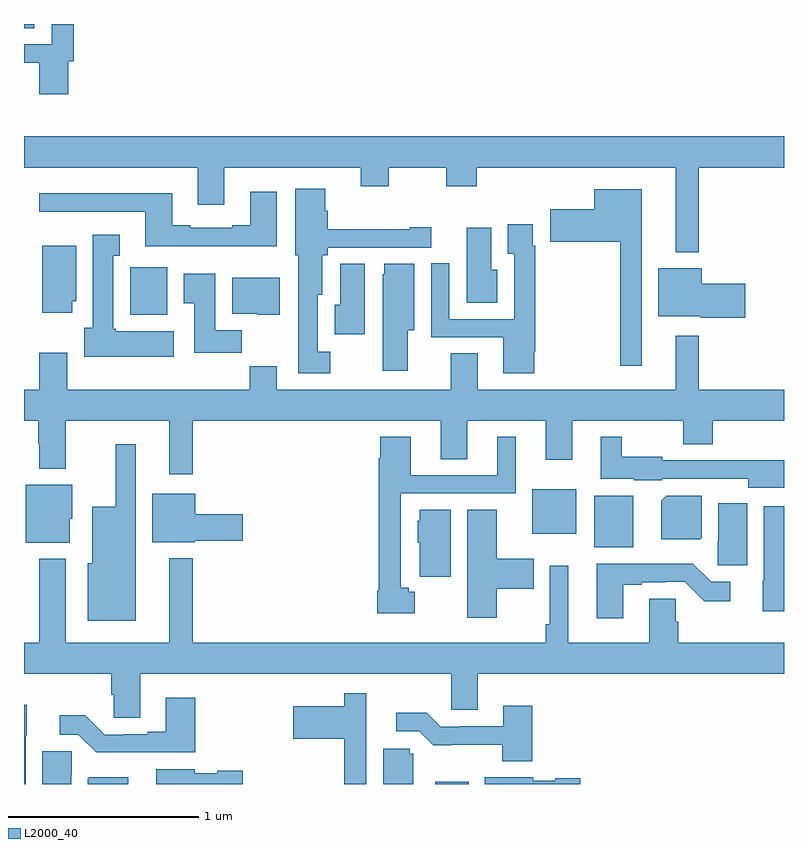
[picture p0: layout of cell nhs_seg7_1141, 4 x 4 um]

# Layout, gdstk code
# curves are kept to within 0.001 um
import gdstk
lib = gdstk.Library(unit=1e-6, precision=1e-09)
def R(c, l, rs):  # rectangles x0, y0, x1, y1
    for r in rs: c.add(gdstk.rectangle(r[:2], r[2:], *l))
def P(c, l, *ps):  # polygons
    for p in ps: c.add(gdstk.Polygon(p, *l))
L2000_40 = (2000, 40)

nhs_seg7_1141 = lib.new_cell('nhs_seg7_1141')
R(nhs_seg7_1141, L2000_40, [(193.164,1036,193.341,1036.012), (194,1037.246,194.206,1037.516), (193.676,1037.318,193.906,1037.551), (191.559,1038.47,191.755,1038.72), (191,1039.978,191.055,1040)])
P(nhs_seg7_1141, L2000_40, [(191.234,1039.803),(191.261,1039.803),(191.261,1040),(191.145,1040),(191.145,1039.893),(191,1039.893),(191,1039.796),(191.081,1039.796),(191.081,1039.629),(191.234,1039.629)],
  [(194.551,1039.244),(195,1039.244),(195,1039.408),(191,1039.408),(191,1039.244),(191.915,1039.244),(191.915,1039.05),(192.055,1039.05),(192.055,1039.244),(192.773,1039.244),(192.773,1039.145),(192.921,1039.145),(192.921,1039.244),(193.222,1039.244),(193.222,1039.145),(193.382,1039.145),(193.382,1039.244),(194.429,1039.244),(194.429,1038.8),(194.551,1038.8)],
  [(192.613,1038.274),(192.547,1038.274),(192.547,1038.576),(192.571,1038.576),(192.571,1038.783),(192.598,1038.783),(192.598,1038.822),(193.143,1038.822),(193.143,1038.93),(193.031,1038.93),(193.031,1038.921),(192.599,1038.921),(192.599,1039.017),(192.586,1039.017),(192.586,1039.132),(192.428,1039.132),(192.428,1038.783),(192.443,1038.783),(192.443,1038.161),(192.613,1038.161)],
  [(194.251,1039.129),(194,1039.129),(194,1039.024),(193.77,1039.024),(193.77,1038.853),(194.137,1038.853),(194.137,1038.201),(194.251,1038.201)],
  [(192.331,1039.117),(192.191,1039.117),(192.191,1038.94),(192.095,1038.94),(192.095,1038.927),(191.875,1038.927),(191.875,1038.94),(191.779,1038.94),(191.779,1039.108),(191.079,1039.108),(191.079,1039.011),(191.639,1039.011),(191.639,1038.83),(192.331,1038.83)],
  [(193.686,1038.274),(193.69,1038.274),(193.69,1038.833),(193.677,1038.833),(193.677,1038.946),(193.547,1038.946),(193.547,1038.79),(193.581,1038.79),(193.581,1038.447),(193.239,1038.447),(193.239,1038.741),(193.143,1038.741),(193.143,1038.351),(193.523,1038.351),(193.523,1038.162),(193.686,1038.162)],
  [(193.492,1038.706),(193.459,1038.706),(193.459,1038.928),(193.331,1038.928),(193.331,1038.532),(193.492,1038.532)],
  [(191.788,1038.382),(191.484,1038.382),(191.484,1038.396),(191.47,1038.396),(191.47,1038.779),(191.503,1038.779),(191.503,1038.892),(191.363,1038.892),(191.363,1038.402),(191.318,1038.402),(191.318,1038.248),(191.788,1038.248)],
  [(191.254,1038.54),(191.275,1038.54),(191.275,1038.832),(191.096,1038.832),(191.096,1038.48),(191.254,1038.48)],
  [(192.793,1038.737),(192.665,1038.737),(192.665,1038.522),(192.635,1038.522),(192.635,1038.366),(192.793,1038.366)],
  [(193.021,1038.389),(193.054,1038.389),(193.054,1038.737),(192.896,1038.737),(192.896,1038.684),(192.887,1038.684),(192.887,1038.174),(193.021,1038.174)],
  [(194.797,1038.632),(194.566,1038.632),(194.566,1038.715),(194.339,1038.715),(194.339,1038.461),(194.562,1038.461),(194.562,1038.454),(194.797,1038.454)],
  [(192.146,1038.388),(192.007,1038.388),(192.007,1038.685),(191.84,1038.685),(191.84,1038.529),(191.897,1038.529),(191.897,1038.27),(192.146,1038.27)],
  [(192.346,1038.664),(192.095,1038.664),(192.095,1038.476),(192.228,1038.476),(192.228,1038.47),(192.346,1038.47)],
  [(191.887,1037.912),(193.193,1037.912),(193.193,1037.71),(193.333,1037.71),(193.333,1037.912),(193.745,1037.912),(193.745,1037.706),(193.885,1037.706),(193.885,1037.912),(194.47,1037.912),(194.47,1037.788),(194.625,1037.788),(194.625,1037.912),(195,1037.912),(195,1038.076),(194.551,1038.076),(194.551,1038.358),(194.429,1038.358),(194.429,1038.076),(193.387,1038.076),(193.387,1038.266),(193.247,1038.266),(193.247,1038.076),(192.331,1038.076),(192.331,1038.2),(192.187,1038.2),(192.187,1038.076),(191.227,1038.076),(191.227,1038.271),(191.08,1038.271),(191.08,1038.076),(191,1038.076),(191,1037.912),(191.074,1037.912),(191.074,1037.792),(191.081,1037.792),(191.081,1037.66),(191.221,1037.66),(191.221,1037.912),(191.765,1037.912),(191.765,1037.631),(191.887,1037.631)],
  [(195,1037.704),(194.875,1037.704),(194.875,1037.703),(194.358,1037.703),(194.358,1037.722),(194.146,1037.722),(194.146,1037.827),(194.036,1037.827),(194.036,1037.606),(194.208,1037.606),(194.208,1037.6),(194.358,1037.6),(194.358,1037.607),(194.813,1037.607),(194.813,1037.558),(195,1037.558)],
  [(193.057,1037.012),(193.026,1037.012),(193.026,1037.033),(192.984,1037.033),(192.984,1037.529),(193.588,1037.529),(193.588,1037.827),(193.49,1037.827),(193.49,1037.625),(193.036,1037.625),(193.036,1037.827),(192.875,1037.827),(192.875,1037.714),(192.868,1037.714),(192.868,1037.016),(192.86,1037.016),(192.86,1036.898),(193.057,1036.898)],
  [(191.587,1037.788),(191.483,1037.788),(191.483,1037.458),(191.36,1037.458),(191.36,1037.163),(191.336,1037.163),(191.336,1036.859),(191.587,1036.859)],
  [(191.242,1037.397),(191.254,1037.397),(191.254,1037.575),(191.009,1037.575),(191.009,1037.27),(191.242,1037.27)],
  [(191.898,1037.279),(192.151,1037.279),(192.151,1037.421),(191.902,1037.421),(191.902,1037.527),(191.675,1037.527),(191.675,1037.273),(191.898,1037.273)],
  [(194.566,1037.296),(194.566,1037.518),(194.38,1037.518),(194.354,1037.492),(194.354,1037.288),(194.558,1037.288)],
  [(194.806,1037.477),(194.654,1037.477),(194.654,1037.274),(194.65,1037.274),(194.65,1037.151),(194.806,1037.151)],
  [(195,1037.461),(194.894,1037.461),(194.894,1037.07),(194.888,1037.07),(194.888,1036.908),(195,1036.908)],
  [(193.489,1037.027),(193.682,1037.027),(193.682,1037.185),(193.489,1037.185),(193.489,1037.444),(193.334,1037.444),(193.334,1036.875),(193.489,1036.875)],
  [(193.246,1037.444),(193.082,1037.444),(193.082,1037.385),(193.073,1037.385),(193.073,1037.271),(193.083,1037.271),(193.083,1037.091),(193.246,1037.091)],
  [(191.611,1036.58),(193.248,1036.58),(193.248,1036.39),(193.387,1036.39),(193.387,1036.58),(195,1036.58),(195,1036.744),(194.444,1036.744),(194.444,1036.854),(194.43,1036.854),(194.43,1036.976),(194.291,1036.976),(194.291,1036.744),(193.864,1036.744),(193.864,1037.149),(193.767,1037.149),(193.767,1036.84),(193.747,1036.84),(193.747,1036.744),(191.887,1036.744),(191.887,1037.188),(191.765,1037.188),(191.765,1036.744),(191.221,1036.744),(191.221,1037.185),(191.081,1037.185),(191.081,1036.744),(191,1036.744),(191,1036.58),(191.459,1036.58),(191.459,1036.47),(191.472,1036.47),(191.472,1036.348),(191.611,1036.348)],
  [(194.155,1037.049),(194.251,1037.049),(194.251,1037.061),(194.378,1037.061),(194.378,1037.064),(194.478,1037.064),(194.581,1036.962),(194.716,1036.962),(194.716,1037.064),(194.616,1037.064),(194.521,1037.159),(194.015,1037.159),(194.015,1036.872),(194.155,1036.872)],
  [(192.801,1036.254),(192.802,1036.254),(192.802,1036.477),(192.685,1036.477),(192.685,1036.408),(192.417,1036.408),(192.417,1036.238),(192.685,1036.238),(192.685,1036),(192.801,1036)],
  [(191.9,1036.453),(191.747,1036.453),(191.747,1036.276),(191.651,1036.276),(191.651,1036.263),(191.524,1036.263),(191.524,1036.26),(191.424,1036.26),(191.322,1036.363),(191.187,1036.363),(191.187,1036.26),(191.286,1036.26),(191.381,1036.166),(191.9,1036.166)],
  [(191.008,1036.254),(191.014,1036.254),(191.014,1036.417),(191,1036.417),(191,1036),(191.008,1036)],
  [(193.676,1036.411),(193.523,1036.411),(193.523,1036.305),(193.294,1036.305),(193.294,1036.302),(193.194,1036.302),(193.121,1036.375),(192.96,1036.375),(192.96,1036.278),(193.08,1036.278),(193.153,1036.205),(193.516,1036.206),(193.516,1036.121),(193.676,1036.121)],
  [(193.048,1036.158),(193.029,1036.158),(193.029,1036.185),(192.89,1036.185),(192.89,1036),(193.048,1036)],
  [(191.248,1036.05),(191.252,1036.05),(191.252,1036.173),(191.096,1036.173),(191.096,1036),(191.248,1036)],
  [(192.151,1036.07),(192.018,1036.07),(192.018,1036.057),(191.898,1036.057),(191.898,1036.078),(191.696,1036.078),(191.696,1036),(192.151,1036)],
  [(193.927,1036.031),(193.797,1036.031),(193.797,1036.018),(193.68,1036.018),(193.68,1036.036),(193.426,1036.036),(193.426,1036),(193.927,1036)],
  [(191.548,1036.036),(191.344,1036.036),(191.336,1036.028),(191.336,1036),(191.548,1036)])

lib.write_gds('nhs_seg7_1141.gds')
